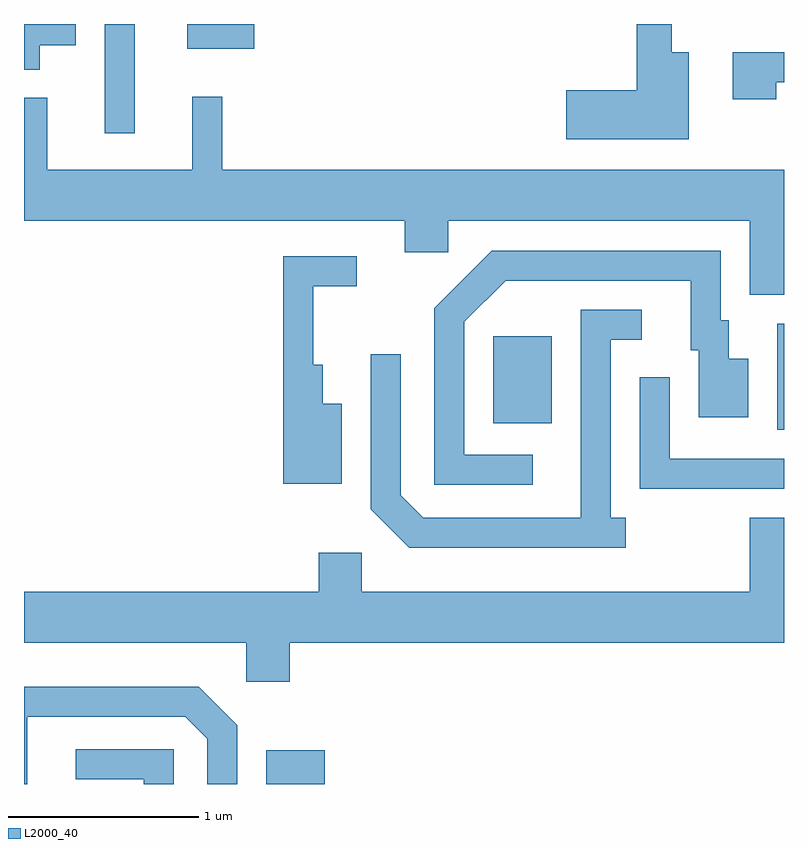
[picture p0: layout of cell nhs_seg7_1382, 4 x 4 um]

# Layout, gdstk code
import gdstk
lib = gdstk.Library(unit=1e-6, precision=1e-09)
def R(c, l, rs):  # rectangles x0, y0, x1, y1
    for r in rs: c.add(gdstk.rectangle(r[:2], r[2:], *l))
def P(c, l, *ps):  # polygons
    for p in ps: c.add(gdstk.Polygon(p, *l))
L2000_40 = (2000, 40)

nhs_seg7_1382 = lib.new_cell('nhs_seg7_1382')
R(nhs_seg7_1382, L2000_40, [(228.886,1700.252,229.194,1700.429), (231.576,1702.116,231.611,1702.674), (230.081,1702.151,230.389,1702.609), (228.036,1703.678,228.194,1704.252), (228.471,1704.121,228.824,1704.252)])
P(nhs_seg7_1382, L2000_40, [(227.694,1704.141),(227.884,1704.141),(227.884,1704.252),(227.611,1704.252),(227.611,1704.011),(227.694,1704.011)],
  [(231.109,1704.104),(231.019,1704.104),(231.019,1704.252),(230.836,1704.252),(230.836,1703.904),(230.466,1703.904),(230.466,1703.646),(231.109,1703.646)],
  [(231.569,1703.946),(231.611,1703.946),(231.611,1704.104),(231.341,1704.104),(231.341,1703.856),(231.569,1703.856)],
  [(231.611,1703.484),(228.654,1703.484),(228.654,1703.868),(228.496,1703.868),(228.496,1703.484),(227.734,1703.484),(227.734,1703.863),(227.611,1703.863),(227.611,1703.216),(229.616,1703.216),(229.616,1703.051),(229.844,1703.051),(229.844,1703.216),(231.431,1703.216),(231.431,1702.826),(231.611,1702.826)],
  [(230.288,1701.984),(229.929,1701.984),(229.929,1702.684),(230.147,1702.901),(231.121,1702.901),(231.121,1702.536),(231.161,1702.536),(231.161,1702.181),(231.424,1702.181),(231.424,1702.489),(231.319,1702.489),(231.319,1702.694),(231.279,1702.694),(231.279,1703.059),(230.074,1703.059),(229.771,1702.757),(229.771,1701.826),(230.288,1701.826)],
  [(229.284,1702.254),(229.184,1702.254),(229.184,1702.459),(229.134,1702.459),(229.134,1702.871),(229.363,1702.871),(229.363,1703.029),(228.976,1703.029),(228.976,1701.831),(229.284,1701.831)],
  [(230.778,1701.654),(230.699,1701.654),(230.699,1702.591),(230.863,1702.591),(230.863,1702.749),(230.541,1702.749),(230.541,1701.654),(229.712,1701.654),(229.594,1701.772),(229.594,1702.513),(229.436,1702.513),(229.436,1701.699),(229.639,1701.496),(230.778,1701.496)],
  [(231.611,1701.964),(231.009,1701.964),(231.009,1702.393),(230.851,1702.393),(230.851,1701.806),(231.611,1701.806)],
  [(229.009,1700.996),(231.611,1700.996),(231.611,1701.654),(231.431,1701.654),(231.431,1701.264),(229.389,1701.264),(229.389,1701.469),(229.161,1701.469),(229.161,1701.264),(227.611,1701.264),(227.611,1700.996),(228.781,1700.996),(228.781,1700.791),(229.009,1700.791)],
  [(227.629,1700.606),(228.459,1700.606),(228.576,1700.489),(228.576,1700.252),(228.734,1700.252),(228.734,1700.562),(228.532,1700.764),(227.611,1700.764),(227.611,1700.252),(227.629,1700.252)],
  [(228.399,1700.434),(227.883,1700.434),(227.883,1700.276),(228.241,1700.276),(228.241,1700.252),(228.399,1700.252)])

lib.write_gds('nhs_seg7_1382.gds')
